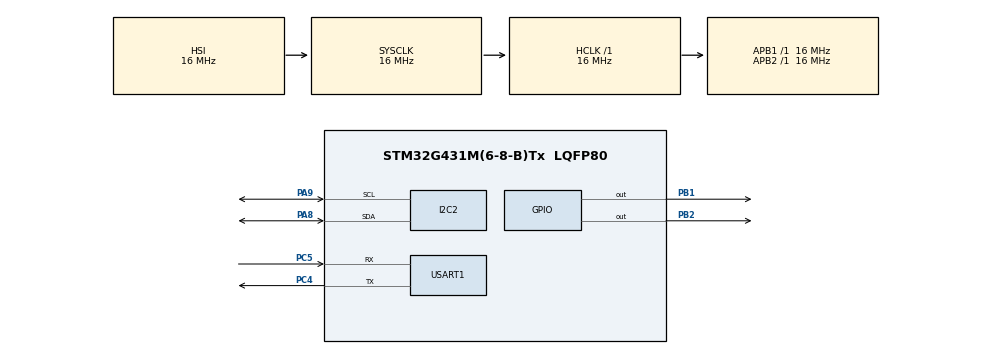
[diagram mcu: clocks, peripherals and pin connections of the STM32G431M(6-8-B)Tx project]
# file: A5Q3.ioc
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I2C2.Timing=0x00503D58
Mcu.Family=STM32G4
Mcu.Name=STM32G431M(6-8-B)Tx
Mcu.Package=LQFP80
NVIC.PriorityGroup=NVIC_PRIORITYGROUP_4
PA13.Mode=Serial_Wire
PA13.Signal=SYS_JTMS-SWDIO
PA14.Mode=Serial_Wire
PA14.Signal=SYS_JTCK-SWCLK
PA8.Mode=I2C
PA8.Signal=I2C2_SDA
PA9.Mode=I2C
PA9.Signal=I2C2_SCL
PB1.PinState=GPIO_PIN_SET
PB1.Signal=GPIO_Output
PB2.PinState=GPIO_PIN_SET
PB2.Signal=GPIO_Output
PC4.Mode=Asynchronous
PC4.Signal=USART1_TX
PC5.Mode=Asynchronous
PC5.Signal=USART1_RX
ProjectManager.HeapSize=0x200
ProjectManager.StackSize=0x400
ProjectManager.TargetToolchain=STM32CubeIDE
RCC.AHBFreq_Value=16000000
RCC.APB1Freq_Value=16000000
RCC.APB1TimFreq_Value=16000000
RCC.APB2Freq_Value=16000000
RCC.APB2TimFreq_Value=16000000
RCC.CortexFreq_Value=16000000
RCC.EXTERNAL_CLOCK_VALUE=12288000
RCC.HCLKFreq_Value=16000000
RCC.HSE_VALUE=8000000
RCC.HSI48_VALUE=48000000
RCC.HSI_VALUE=16000000
RCC.LSE_VALUE=32768
RCC.SYSCLKFreq_VALUE=16000000
RCC.USBFreq_Value=64000000
RCC.VCOOutputFreq_Value=128000000
USART1.VirtualMode-Asynchronous=VM_ASYNC
VP_SYS_VS_DBSignals.Mode=DisableDeadBatterySignals
board=custom

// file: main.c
/* USER CODE BEGIN Header */
/**
  ******************************************************************************
  * @file           : main.c
  * @brief          : Main program body
  ******************************************************************************
  * @attention
  *
  * Copyright (c) 2024 STMicroelectronics.
  * All rights reserved.
  *
  * This software is licensed under terms that can be found in the LICENSE file
  * in the root directory of this software component.
  * If no LICENSE file comes with this software, it is provided AS-IS.
  *
  ******************************************************************************
  */
/* USER CODE END Header */
#include "main.h"

I2C_HandleTypeDef hi2c2;

UART_HandleTypeDef huart1;

void SystemClock_Config(void);
static void MX_GPIO_Init(void);
static void MX_I2C2_Init(void);
static void MX_USART1_UART_Init(void);

int main(void)
{

  /* MCU Configuration--------------------------------------------------------*/

  /* Reset of all peripherals, Initializes the Flash interface and the Systick. */
  HAL_Init();

  /* Configure the system clock */
  SystemClock_Config();

  /* Initialize all configured peripherals */
  MX_GPIO_Init();
  MX_I2C2_Init();
  MX_USART1_UART_Init();
  /* USER CODE BEGIN 2 */

#define SHT3_ADDRESS_WRITE (0x70 << 1)
#define SHT3_ADDRESS_READ (0x70 << 1) | 0x01

uint8_t regTemp [2];
regTemp[0] = 0x7C;
regTemp[1] = 0xA2;
uint8_t rawTemp[2];
uint16_t rawTemp16;
float Temp;
char printBuff[64]= {0};

if(HAL_I2C_IsDeviceReady(&hi2c2, SHT3_ADDRESS_WRITE, 2, 100)== 0){

	  HAL_UART_Transmit(&huart1, "\n\rDevice is Ready", sizeof("\n\rDevice is Ready"), 1000);
}
else{
	  HAL_UART_Transmit(&huart1, "\n\rDevice is NOT Ready", sizeof("\n\rDevice is NOT Ready"), 1000);
	  return 0;
}
  /* USER CODE END 2 */

  /* Infinite loop */
  /* USER CODE BEGIN WHILE */
  while (1)
  {

	  HAL_I2C_Master_Transmit(&hi2c2, SHT3_ADDRESS_WRITE ,regTemp, 2, 100);
	  HAL_Delay(30);

	  HAL_I2C_Master_Receive(&hi2c2,SHT3_ADDRESS_READ , rawTemp, 2, 100);

	  rawTemp16 = ((rawTemp[0]<<8)| rawTemp[1]);
	  Temp = ((float)175*rawTemp16/(float)65536)-(float)45;
	  sprintf(printBuff, "\n\rTemperature : %.1f Degrees", Temp);
	  HAL_UART_Transmit(&huart1, printBuff, sizeof(printBuff), 1000);
	  memset(printBuff, 0, sizeof(printBuff));
	  HAL_Delay(1000);
	  if (Temp >= 30){
		  HAL_GPIO_WritePin(GPIOB, GPIO_PIN_2, 0);
		  HAL_GPIO_WritePin(GPIOB, GPIO_PIN_1, 1);
	  } if (Temp <= 30){
		  HAL_GPIO_WritePin(GPIOB, GPIO_PIN_1, 0);
		  HAL_GPIO_WritePin(GPIOB, GPIO_PIN_2, 1);
	  }
    /* USER CODE END WHILE */

  }
}

void SystemClock_Config(void)
{
  RCC_OscInitTypeDef RCC_OscInitStruct = {0};
  RCC_ClkInitTypeDef RCC_ClkInitStruct = {0};

  /** Configure the main internal regulator output voltage
  */
  HAL_PWREx_ControlVoltageScaling(PWR_REGULATOR_VOLTAGE_SCALE1);

  /** Initializes the RCC Oscillators according to the specified parameters
  * in the RCC_OscInitTypeDef structure.
  */
  RCC_OscInitStruct.OscillatorType = RCC_OSCILLATORTYPE_HSI;
  RCC_OscInitStruct.HSIState = RCC_HSI_ON;
  RCC_OscInitStruct.HSICalibrationValue = RCC_HSICALIBRATION_DEFAULT;
  RCC_OscInitStruct.PLL.PLLState = RCC_PLL_NONE;
  if (HAL_RCC_OscConfig(&RCC_OscInitStruct) != HAL_OK)
  {
    Error_Handler();
  }

  /** Initializes the CPU, AHB and APB buses clocks
  */
  RCC_ClkInitStruct.ClockType = RCC_CLOCKTYPE_HCLK|RCC_CLOCKTYPE_SYSCLK
                              |RCC_CLOCKTYPE_PCLK1|RCC_CLOCKTYPE_PCLK2;
  RCC_ClkInitStruct.SYSCLKSource = RCC_SYSCLKSOURCE_HSI;
  RCC_ClkInitStruct.AHBCLKDivider = RCC_SYSCLK_DIV1;
  RCC_ClkInitStruct.APB1CLKDivider = RCC_HCLK_DIV1;
  RCC_ClkInitStruct.APB2CLKDivider = RCC_HCLK_DIV1;

  if (HAL_RCC_ClockConfig(&RCC_ClkInitStruct, FLASH_LATENCY_0) != HAL_OK)
  {
    Error_Handler();
  }
}

static void MX_I2C2_Init(void)
{

  hi2c2.Instance = I2C2;
  hi2c2.Init.Timing = 0x00503D58;
  hi2c2.Init.OwnAddress1 = 0;
  hi2c2.Init.AddressingMode = I2C_ADDRESSINGMODE_7BIT;
  hi2c2.Init.DualAddressMode = I2C_DUALADDRESS_DISABLE;
  hi2c2.Init.OwnAddress2 = 0;
  hi2c2.Init.OwnAddress2Masks = I2C_OA2_NOMASK;
  hi2c2.Init.GeneralCallMode = I2C_GENERALCALL_DISABLE;
  hi2c2.Init.NoStretchMode = I2C_NOSTRETCH_DISABLE;
  if (HAL_I2C_Init(&hi2c2) != HAL_OK)
  {
    Error_Handler();
  }

  /** Configure Analogue filter
  */
  if (HAL_I2CEx_ConfigAnalogFilter(&hi2c2, I2C_ANALOGFILTER_ENABLE) != HAL_OK)
  {
    Error_Handler();
  }

  /** Configure Digital filter
  */
  if (HAL_I2CEx_ConfigDigitalFilter(&hi2c2, 0) != HAL_OK)
  {
    Error_Handler();
  }

}

static void MX_USART1_UART_Init(void)
{

  huart1.Instance = USART1;
  huart1.Init.BaudRate = 115200;
  huart1.Init.WordLength = UART_WORDLENGTH_8B;
  huart1.Init.StopBits = UART_STOPBITS_1;
  huart1.Init.Parity = UART_PARITY_NONE;
  huart1.Init.Mode = UART_MODE_TX_RX;
  huart1.Init.HwFlowCtl = UART_HWCONTROL_NONE;
  huart1.Init.OverSampling = UART_OVERSAMPLING_16;
  huart1.Init.OneBitSampling = UART_ONE_BIT_SAMPLE_DISABLE;
  huart1.Init.ClockPrescaler = UART_PRESCALER_DIV1;
  huart1.AdvancedInit.AdvFeatureInit = UART_ADVFEATURE_NO_INIT;
  if (HAL_UART_Init(&huart1) != HAL_OK)
  {
    Error_Handler();
  }
  if (HAL_UARTEx_SetTxFifoThreshold(&huart1, UART_TXFIFO_THRESHOLD_1_8) != HAL_OK)
  {
    Error_Handler();
  }
  if (HAL_UARTEx_SetRxFifoThreshold(&huart1, UART_RXFIFO_THRESHOLD_1_8) != HAL_OK)
  {
    Error_Handler();
  }
  if (HAL_UARTEx_DisableFifoMode(&huart1) != HAL_OK)
  {
    Error_Handler();
  }

}

static void MX_GPIO_Init(void)
{
  GPIO_InitTypeDef GPIO_InitStruct = {0};

  /* GPIO Ports Clock Enable */
  __HAL_RCC_GPIOC_CLK_ENABLE();
  __HAL_RCC_GPIOB_CLK_ENABLE();
  __HAL_RCC_GPIOA_CLK_ENABLE();

  /*Configure GPIO pin Output Level */
  HAL_GPIO_WritePin(GPIOB, GPIO_PIN_1|GPIO_PIN_2, GPIO_PIN_SET);

  /*Configure GPIO pins : PB1 PB2 */
  GPIO_InitStruct.Pin = GPIO_PIN_1|GPIO_PIN_2;
  GPIO_InitStruct.Mode = GPIO_MODE_OUTPUT_PP;
  GPIO_InitStruct.Pull = GPIO_NOPULL;
  GPIO_InitStruct.Speed = GPIO_SPEED_FREQ_LOW;
  HAL_GPIO_Init(GPIOB, &GPIO_InitStruct);

}

void Error_Handler(void)
{
  __disable_irq();
  while (1)
  {
  }
}
